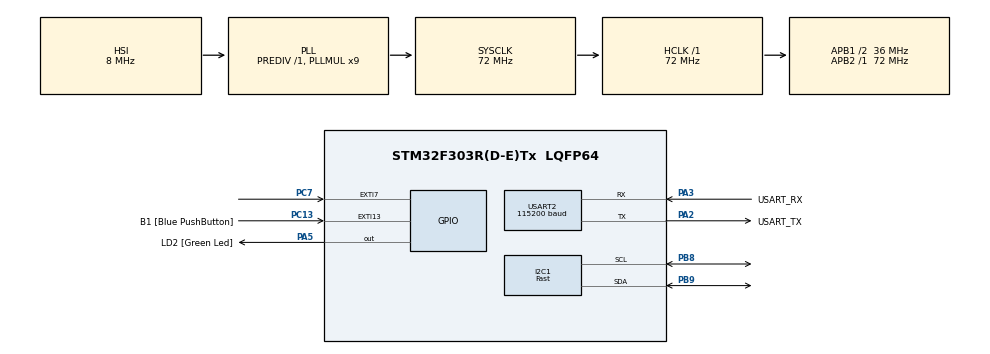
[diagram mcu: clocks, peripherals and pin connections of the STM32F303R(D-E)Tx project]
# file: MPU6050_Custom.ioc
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I2C1.GeneralCallMode=I2C_GENERALCALL_ENABLE
I2C1.I2C_Fall_Time=100
I2C1.I2C_Rise_Time=100
I2C1.I2C_Speed_Mode=I2C_Fast
I2C1.Speed=100
I2C1.Timing=0x00100246
Mcu.Family=STM32F3
Mcu.Name=STM32F303R(D-E)Tx
Mcu.Package=LQFP64
NVIC.EXTI9_5_IRQn=true\:0\:0\:false\:false\:true\:true\:true\:true
NVIC.PriorityGroup=NVIC_PRIORITYGROUP_0
PA13.GPIO_Label=TMS
PA13.Mode=Serial_Wire
PA13.Signal=SYS_JTMS-SWDIO
PA14.GPIO_Label=TCK
PA14.Mode=Serial_Wire
PA14.Signal=SYS_JTCK-SWCLK
PA2.GPIO_Label=USART_TX
PA2.GPIO_Mode=GPIO_MODE_AF_PP
PA2.GPIO_PuPd=GPIO_NOPULL
PA2.GPIO_Speed=GPIO_SPEED_FREQ_LOW
PA2.Mode=Asynchronous
PA2.Signal=USART2_TX
PA3.GPIO_Label=USART_RX
PA3.GPIO_Mode=GPIO_MODE_AF_PP
PA3.GPIO_PuPd=GPIO_NOPULL
PA3.GPIO_Speed=GPIO_SPEED_FREQ_LOW
PA3.Mode=Asynchronous
PA3.Signal=USART2_RX
PA5.GPIO_Label=LD2 [Green Led]
PA5.GPIO_Mode=GPIO_MODE_OUTPUT_PP
PA5.GPIO_ModeDefaultOutputPP=GPIO_MODE_OUTPUT_OD
PA5.GPIO_PuPd=GPIO_NOPULL
PA5.GPIO_Speed=GPIO_SPEED_FREQ_LOW
PA5.Signal=GPIO_Output
PB3.GPIO_Label=SWO
PB3.Signal=SYS_JTDO-TRACESWO
PB8.GPIO_FM8=SYSCFG_CFGR1_I2C_PB8_FMP
PB8.GPIO_Pu=GPIO_NOPULL
PB8.GPIO_Speed=GPIO_SPEED_FREQ_HIGH
PB8.Mode=I2C
PB8.Signal=I2C1_SCL
PB9.GPIO_FM9=SYSCFG_CFGR1_I2C_PB9_FMP
PB9.GPIO_Pu=GPIO_NOPULL
PB9.GPIO_Speed=GPIO_SPEED_FREQ_HIGH
PB9.Mode=I2C
PB9.Signal=I2C1_SDA
PC13.GPIO_Label=B1 [Blue PushButton]
PC13.GPIO_ModeDefaultEXTI=GPIO_MODE_IT_FALLING
PC13.GPIO_PuPd=GPIO_NOPULL
PC13.Signal=GPXTI13
PC14-OSC32_IN.Mode=LSE-External-Oscillator
PC14-OSC32_IN.Signal=RCC_OSC32_IN
PC15-OSC32_OUT.Mode=LSE-External-Oscillator
PC15-OSC32_OUT.Signal=RCC_OSC32_OUT
PC7.GPIO_PuPd=GPIO_PULLDOWN
PC7.Signal=GPXTI7
PF0-OSC_IN.Mode=HSE-External-Clock-Source
PF0-OSC_IN.Signal=RCC_OSC_IN
PF1-OSC_OUT.Signal=RCC_OSC_OUT
ProjectManager.HeapSize=0x200
ProjectManager.StackSize=0x400
ProjectManager.TargetToolchain=STM32CubeIDE
RCC.AHBFreq_Value=72000000
RCC.APB1CLKDivider=RCC_HCLK_DIV2
RCC.APB1Freq_Value=36000000
RCC.APB1TimFreq_Value=72000000
RCC.APB2Freq_Value=72000000
RCC.APB2TimFreq_Value=72000000
RCC.CortexFreq_Value=72000000
RCC.HCLKFreq_Value=72000000
RCC.HSE_VALUE=8000000
RCC.HSI_VALUE=8000000
RCC.PLLM=8
RCC.PLLMUL=RCC_PLL_MUL9
RCC.PLLN=336
RCC.PLLP=RCC_PLLP_DIV4
RCC.PLLQ=7
RCC.RCC_PLLsource_Clock_Source_FROM_HSE=RCC_HSE_PREDIV_DIV2
RCC.SYSCLKFreq_VALUE=72000000
RCC.SYSCLKSourceVirtual=RCC_SYSCLKSOURCE_PLLCLK
RCC.USBFreq_Value=72000000
USART2.BaudRate=115200
USART2.VirtualMode-Asynchronous=VM_ASYNC
board=NUCLEO-F303RE

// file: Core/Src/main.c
/* USER CODE BEGIN Header */
/**
  ******************************************************************************
  * @file           : main.c
  * @brief          : Main program body
  ******************************************************************************
  * @attention
  *
  * Copyright (c) 2024 STMicroelectronics.
  * All rights reserved.
  *
  * This software is licensed under terms that can be found in the LICENSE file
  * in the root directory of this software component.
  * If no LICENSE file comes with this software, it is provided AS-IS.
  *
  ******************************************************************************
  */
/* USER CODE END Header */
#include "main.h"
#include "i2c.h"
#include "usart.h"
#include "gpio.h"

/* USER CODE BEGIN Includes */
#include <string.h>
#include <stdio.h>
#include <stdint.h>
#include <inttypes.h>
#include "MPU6050_platform.h"
#include "MPU6050_registermap.h"
#include "MPU6050_api.h"

/* USER CODE END Includes */

/* USER CODE BEGIN PV */
  uint8_t interr = 1;
/* USER CODE END PV */

void SystemClock_Config(void);

int main(void)
{

  /* USER CODE BEGIN 1 */
  // Variable definition
  char printBuff[200];
  int16_t AllBuffer[7] = {0};
  uint8_t status = 0;
  size_t buffSize = sizeof(AllBuffer) / sizeof(AllBuffer[0]);
  float AccX, AccY, AccZ, GyrX, GyrY, GyrZ, Temp;

  /* USER CODE END 1 */

  /* MCU Configuration--------------------------------------------------------*/

  /* Reset of all peripherals, Initializes the Flash interface and the Systick. */
  HAL_Init();

  /* Configure the system clock */
  SystemClock_Config();

  /* Initialize all configured peripherals */
  MX_GPIO_Init();
  MX_USART2_UART_Init();
  MX_I2C1_Init();
  /* USER CODE BEGIN 2 */
  MPU6050_t IMU;
  MPU6050_t_cfg CFG;
  CFG.fifo_en = 0;
  IMU.dev_address = 0x68 << 1;
  IMU.i2c_hanlde = &hi2c1;
  IMU_Init(&IMU, CFG);

  /* USER CODE END 2 */

  /* Infinite loop */
  while (1)
  {

    /* USER CODE BEGIN 3 */
	  if (interr){
		  interr = 0;
		  ClearInterrupt(&IMU);
		  status |= ReadAll(&IMU, AllBuffer, buffSize);
		  AccX = AllBuffer[0]/16384.0f;
		  AccY = AllBuffer[1]/16384.0f;
		  AccZ = AllBuffer[2]/16384.0f;
		  Temp = AllBuffer[3]/340.0f + 36.53;
		  GyrX = AllBuffer[4]/131.0f;
		  GyrY = AllBuffer[5]/131.0f;
		  GyrZ = AllBuffer[6]/131.0f;

		  snprintf(printBuff, sizeof(printBuff), "Acc X: %.3f \t Acc Y: %.3f \t  Acc Z: %.3f \t Gyr X: %.3f \t Gyr Y: %.3f\t  Gyr Z: %.3f \t Temp: %.3f \r\n"\
				  , AccX, AccY, AccZ, GyrX, GyrY, GyrZ, Temp);
		  HAL_UART_Transmit(&huart2, (uint8_t*)printBuff, strlen(printBuff) ,HAL_MAX_DELAY);
	  };

  }
  /* USER CODE END 3 */
}

void SystemClock_Config(void)
{
  RCC_OscInitTypeDef RCC_OscInitStruct = {0};
  RCC_ClkInitTypeDef RCC_ClkInitStruct = {0};
  RCC_PeriphCLKInitTypeDef PeriphClkInit = {0};

  /** Initializes the RCC Oscillators according to the specified parameters
  * in the RCC_OscInitTypeDef structure.
  */
  RCC_OscInitStruct.OscillatorType = RCC_OSCILLATORTYPE_HSI;
  RCC_OscInitStruct.HSIState = RCC_HSI_ON;
  RCC_OscInitStruct.HSICalibrationValue = RCC_HSICALIBRATION_DEFAULT;
  RCC_OscInitStruct.PLL.PLLState = RCC_PLL_ON;
  RCC_OscInitStruct.PLL.PLLSource = RCC_PLLSOURCE_HSI;
  RCC_OscInitStruct.PLL.PLLMUL = RCC_PLL_MUL9;
  RCC_OscInitStruct.PLL.PREDIV = RCC_PREDIV_DIV1;
  if (HAL_RCC_OscConfig(&RCC_OscInitStruct) != HAL_OK)
  {
    Error_Handler();
  }

  /** Initializes the CPU, AHB and APB buses clocks
  */
  RCC_ClkInitStruct.ClockType = RCC_CLOCKTYPE_HCLK|RCC_CLOCKTYPE_SYSCLK
                              |RCC_CLOCKTYPE_PCLK1|RCC_CLOCKTYPE_PCLK2;
  RCC_ClkInitStruct.SYSCLKSource = RCC_SYSCLKSOURCE_PLLCLK;
  RCC_ClkInitStruct.AHBCLKDivider = RCC_SYSCLK_DIV1;
  RCC_ClkInitStruct.APB1CLKDivider = RCC_HCLK_DIV2;
  RCC_ClkInitStruct.APB2CLKDivider = RCC_HCLK_DIV1;

  if (HAL_RCC_ClockConfig(&RCC_ClkInitStruct, FLASH_LATENCY_2) != HAL_OK)
  {
    Error_Handler();
  }
  PeriphClkInit.PeriphClockSelection = RCC_PERIPHCLK_USART2|RCC_PERIPHCLK_I2C1;
  PeriphClkInit.Usart2ClockSelection = RCC_USART2CLKSOURCE_PCLK1;
  PeriphClkInit.I2c1ClockSelection = RCC_I2C1CLKSOURCE_HSI;
  if (HAL_RCCEx_PeriphCLKConfig(&PeriphClkInit) != HAL_OK)
  {
    Error_Handler();
  }
}

/* USER CODE BEGIN 4 */
void HAL_GPIO_EXTI_Callback(uint16_t GPIO_Pin)
{
  if(GPIO_Pin == GPIO_PIN_7) {
    //HAL_GPIO_WritePin(GPIOD, GPIO_PIN_7, GPIO_PIN_SET);
    interr = 1;
  }
}
/* USER CODE END 4 */

void Error_Handler(void)
{
  __disable_irq();
  while (1)
  {
  }
}
